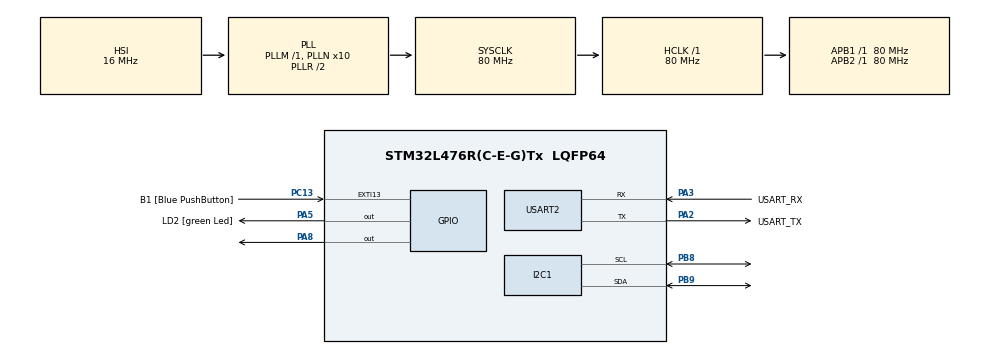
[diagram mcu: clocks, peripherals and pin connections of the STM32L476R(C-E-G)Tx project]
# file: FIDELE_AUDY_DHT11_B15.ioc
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I2C1.Timing=0x10D19CE4
Mcu.Family=STM32L4
Mcu.Name=STM32L476R(C-E-G)Tx
Mcu.Package=LQFP64
NVIC.PriorityGroup=NVIC_PRIORITYGROUP_4
PA13\ (JTMS-SWDIO).GPIO_Label=TMS
PA13\ (JTMS-SWDIO).Mode=Serial_Wire
PA13\ (JTMS-SWDIO).Signal=SYS_JTMS-SWDIO
PA14\ (JTCK-SWCLK).GPIO_Label=TCK
PA14\ (JTCK-SWCLK).Mode=Serial_Wire
PA14\ (JTCK-SWCLK).Signal=SYS_JTCK-SWCLK
PA2.GPIO_Label=USART_TX
PA2.GPIO_Mode=GPIO_MODE_AF_PP
PA2.GPIO_PuPd=GPIO_NOPULL
PA2.GPIO_Speed=GPIO_SPEED_FREQ_VERY_HIGH
PA2.Mode=Asynchronous
PA2.Signal=USART2_TX
PA3.GPIO_Label=USART_RX
PA3.GPIO_Mode=GPIO_MODE_AF_PP
PA3.GPIO_PuPd=GPIO_NOPULL
PA3.GPIO_Speed=GPIO_SPEED_FREQ_VERY_HIGH
PA3.Mode=Asynchronous
PA3.Signal=USART2_RX
PA5.GPIO_Label=LD2 [green Led]
PA5.GPIO_ModeDefaultOutputPP=GPIO_MODE_OUTPUT_PP
PA5.GPIO_PuPd=GPIO_NOPULL
PA5.GPIO_Speed=GPIO_SPEED_FREQ_LOW
PA5.Signal=GPIO_Output
PA8.Signal=GPIO_Output
PB3\ (JTDO-TRACESWO).GPIO_Label=SWO
PB3\ (JTDO-TRACESWO).Signal=SYS_JTDO-SWO
PB8.Mode=I2C
PB8.Signal=I2C1_SCL
PB9.Mode=I2C
PB9.Signal=I2C1_SDA
PC13.GPIO_Label=B1 [Blue PushButton]
PC13.GPIO_ModeDefaultEXTI=GPIO_MODE_IT_FALLING
PC13.GPIO_PuPd=GPIO_NOPULL
PC13.Signal=GPXTI13
PC14-OSC32_IN\ (PC14).Mode=LSE-External-Oscillator
PC14-OSC32_IN\ (PC14).Signal=RCC_OSC32_IN
PC15-OSC32_OUT\ (PC15).Mode=LSE-External-Oscillator
PC15-OSC32_OUT\ (PC15).Signal=RCC_OSC32_OUT
PH0-OSC_IN\ (PH0).Signal=RCC_OSC_IN
PH1-OSC_OUT\ (PH1).Signal=RCC_OSC_OUT
ProjectManager.HeapSize=0x200
ProjectManager.StackSize=0x400
ProjectManager.TargetToolchain=STM32CubeIDE
RCC.ADCFreq_Value=64000000
RCC.AHBFreq_Value=80000000
RCC.APB1Freq_Value=80000000
RCC.APB1TimFreq_Value=80000000
RCC.APB2Freq_Value=80000000
RCC.APB2TimFreq_Value=80000000
RCC.CortexFreq_Value=80000000
RCC.HCLKFreq_Value=80000000
RCC.HSE_VALUE=8000000
RCC.HSI_VALUE=16000000
RCC.MSI_VALUE=4000000
RCC.PLLN=10
RCC.PLLSourceVirtual=RCC_PLLSOURCE_HSI
RCC.PREFETCH_ENABLE=1
RCC.SYSCLKFreq_VALUE=80000000
RCC.SYSCLKSource=RCC_SYSCLKSOURCE_PLLCLK
RCC.USBFreq_Value=64000000
RCC.VCOOutputFreq_Value=160000000
TIM1.Prescaler=79
USART2.VirtualMode-Asynchronous=VM_ASYNC
VP_TIM1_VS_ClockSourceINT.Mode=Internal
board=NUCLEO-L476RG

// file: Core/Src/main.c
/* USER CODE BEGIN Header */
/**
  ******************************************************************************
  * @file           : main.c
  * @brief          : Main program body
  ******************************************************************************
  * @attention
  *
  * Copyright (c) 2026 STMicroelectronics.
  * All rights reserved.
  *
  * This software is licensed under terms that can be found in the LICENSE file
  * in the root directory of this software component.
  * If no LICENSE file comes with this software, it is provided AS-IS.
  *
  ******************************************************************************
  */
/* USER CODE END Header */
#include "main.h"
#include "i2c.h"
#include "tim.h"
#include "usart.h"
#include "gpio.h"
#include "string.h"
#include "stdio.h"

/* USER CODE BEGIN Includes */
#include "dht.h"
#include "lcd.h"

/* USER CODE END Includes */

/* USER CODE BEGIN PV */
char lcd_buf[16];
int temp,hum;

/* USER CODE END PV */

void SystemClock_Config(void);
/* USER CODE BEGIN PFP */

void lcd_affichage(int T, int H){

	clearlcd();
	sprintf(lcd_buf,"Temp: %d.%d%cC",(temp/100),(temp%100),0xDF);
	lcd_position(&hi2c1,0,0);
	lcd_print(&hi2c1,lcd_buf);

	sprintf(lcd_buf,"Humi: %d.%d%%",(H/100),(H%100));
	lcd_position(&hi2c1,0,1);
	//lcd_print(&hi2c1,lcd_buf);
	lcd_print(&hi2c1,"test");

	//reglagecouleur(255,255,255);
}

/* USER CODE END PFP */

int main(void)
{

  /* USER CODE BEGIN 1 */
	uint8_t RH1, RH2, TC1, TC2 , SUM, Check,tCelsius,RH_fin;
  /* USER CODE END 1 */

  /* MCU Configuration--------------------------------------------------------*/

  /* Reset of all peripherals, Initializes the Flash interface and the Systick. */
  HAL_Init();

  /* USER CODE BEGIN Init */
  rgb_lcd lcdData;

  /* USER CODE END Init */

  /* Configure the system clock */
  SystemClock_Config();

  /* Initialize all configured peripherals */
  MX_GPIO_Init();
  MX_USART2_UART_Init();
  MX_TIM1_Init();
  MX_I2C1_Init();
  lcd_init(&hi2c1,&lcdData);

  /* Infinite loop */
  while (1)
  {

    /* USER CODE BEGIN 3 */

	  if(DHT11_Init())

	  {

		  // MSB LSB Humidite
		  RH1 = DHT11_Read();
		  RH2 = DHT11_Read();

		  // MSB LSB Temp
		  TC1 = DHT11_Read();
		  TC2 = DHT11_Read();

		  //check sum
		  SUM = DHT11_Read();

		  Check = RH1 + RH2 + TC1 + TC2;

		  //pas d'erreur checksum
		  if (Check == SUM)
		  {

			  if (TC1>127) // en dessous de 0

			  {

				  tCelsius = (float)TC2/10*(-1);
				  temp = tCelsius *100;

			  }

			  else

			  {

				  tCelsius = (float)((TC1<<8)|TC2)/10;
				  temp = tCelsius *100;

			  }

			  RH_fin = (float) ((RH1<<8)|RH2)/10;
			  hum = RH_fin *100;

		  }

	  	  	  }
	  lcd_affichage(temp, hum);

	  //Display_Temp(tCelsius);

	  //Display_Rh(RH);

	  HAL_Delay(1000);
  }
  /* USER CODE END 3 */
}

void SystemClock_Config(void)
{
  RCC_OscInitTypeDef RCC_OscInitStruct = {0};
  RCC_ClkInitTypeDef RCC_ClkInitStruct = {0};

  /** Configure the main internal regulator output voltage
  */
  if (HAL_PWREx_ControlVoltageScaling(PWR_REGULATOR_VOLTAGE_SCALE1) != HAL_OK)
  {
    Error_Handler();
  }

  /** Initializes the RCC Oscillators according to the specified parameters
  * in the RCC_OscInitTypeDef structure.
  */
  RCC_OscInitStruct.OscillatorType = RCC_OSCILLATORTYPE_HSI;
  RCC_OscInitStruct.HSIState = RCC_HSI_ON;
  RCC_OscInitStruct.HSICalibrationValue = RCC_HSICALIBRATION_DEFAULT;
  RCC_OscInitStruct.PLL.PLLState = RCC_PLL_ON;
  RCC_OscInitStruct.PLL.PLLSource = RCC_PLLSOURCE_HSI;
  RCC_OscInitStruct.PLL.PLLM = 1;
  RCC_OscInitStruct.PLL.PLLN = 10;
  RCC_OscInitStruct.PLL.PLLP = RCC_PLLP_DIV7;
  RCC_OscInitStruct.PLL.PLLQ = RCC_PLLQ_DIV2;
  RCC_OscInitStruct.PLL.PLLR = RCC_PLLR_DIV2;
  if (HAL_RCC_OscConfig(&RCC_OscInitStruct) != HAL_OK)
  {
    Error_Handler();
  }

  /** Initializes the CPU, AHB and APB buses clocks
  */
  RCC_ClkInitStruct.ClockType = RCC_CLOCKTYPE_HCLK|RCC_CLOCKTYPE_SYSCLK
                              |RCC_CLOCKTYPE_PCLK1|RCC_CLOCKTYPE_PCLK2;
  RCC_ClkInitStruct.SYSCLKSource = RCC_SYSCLKSOURCE_PLLCLK;
  RCC_ClkInitStruct.AHBCLKDivider = RCC_SYSCLK_DIV1;
  RCC_ClkInitStruct.APB1CLKDivider = RCC_HCLK_DIV1;
  RCC_ClkInitStruct.APB2CLKDivider = RCC_HCLK_DIV1;

  if (HAL_RCC_ClockConfig(&RCC_ClkInitStruct, FLASH_LATENCY_4) != HAL_OK)
  {
    Error_Handler();
  }
}

void Error_Handler(void)
{
  __disable_irq();
  while (1)
  {
  }
}
